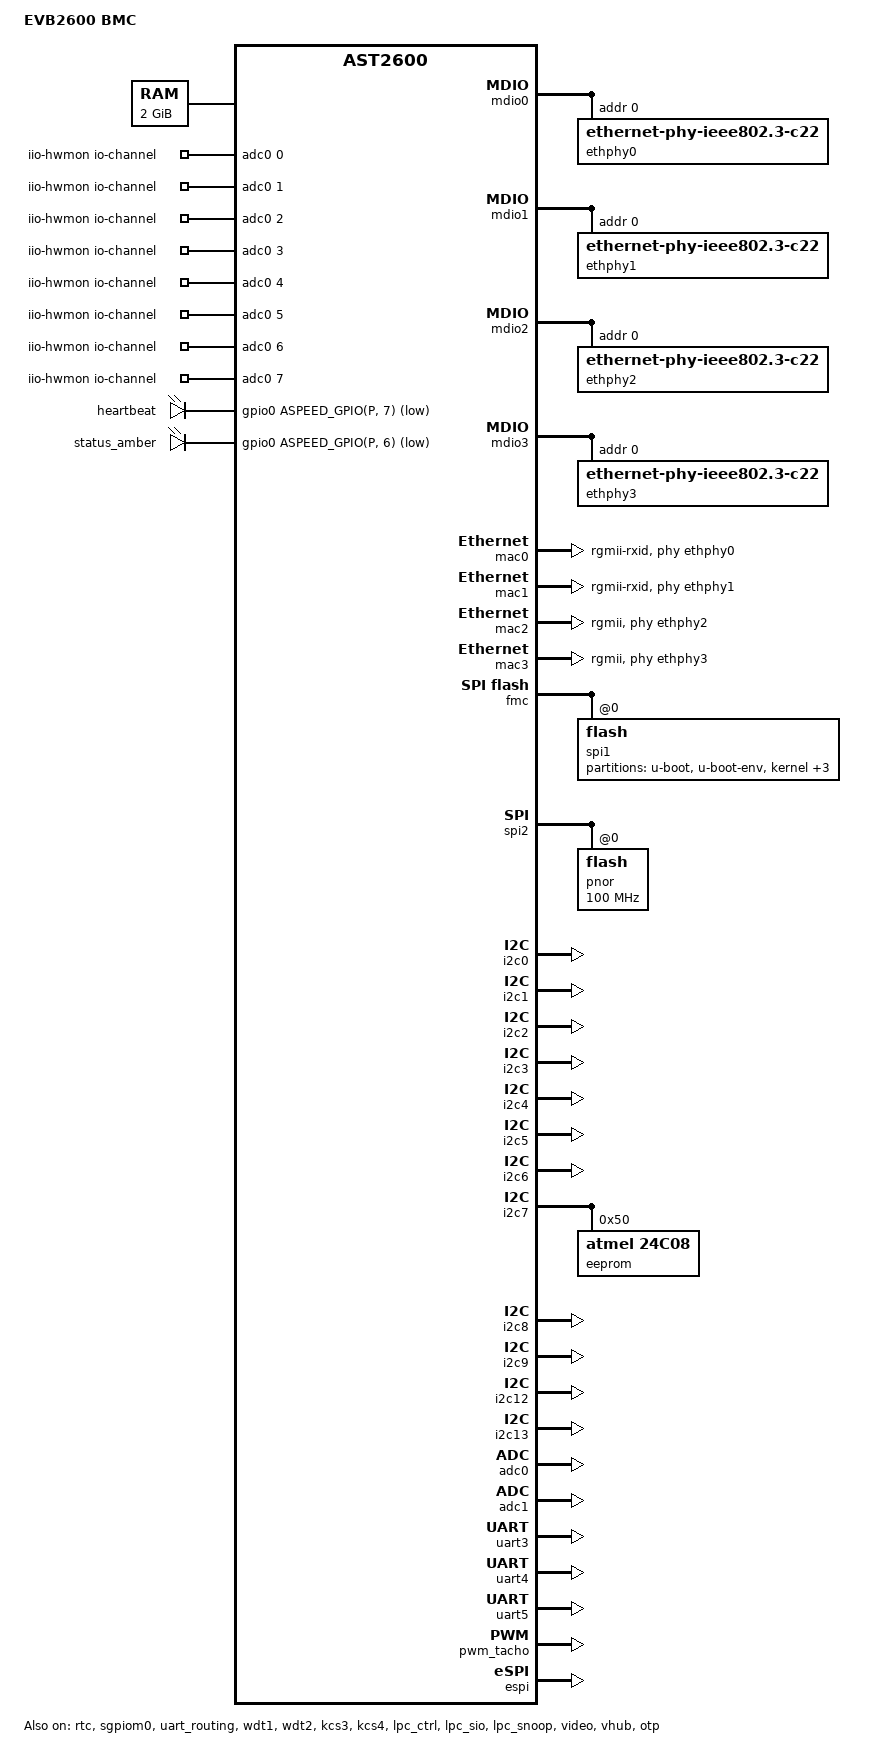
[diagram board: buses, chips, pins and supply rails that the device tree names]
// SPDX-License-Identifier: GPL-2.0+
// Copyright (c) 2021 Facebook Inc.
/dts-v1/;

#include "aspeed-g6.dtsi"
#include <dt-bindings/gpio/aspeed-gpio.h>
#include <dt-bindings/usb/pd.h>

/ {
	model = "EVB2600 BMC";
	compatible = "yandex,evb2600-bmc", "aspeed,ast2600";

	aliases {
		serial4 = &uart5;
	};

	chosen {
		bootargs = "console=ttyS4,115200n8 rw earlyrintk";
	};

	memory@80000000 {
		device_type = "memory";
		reg = <0x80000000 0x80000000>;
	};

	reserved-memory {
		#address-cells = <1>;
		#size-cells = <1>;
		ranges;

		gfx_memory: framebuffer {
			size = <0x01000000>;
			alignment = <0x01000000>;
			compatible = "shared-dma-pool";
			reusable;
		};

		video_engine_memory: video {
			size = <0x04000000>;
			alignment = <0x01000000>;
			compatible = "shared-dma-pool";
			reusable;
		};

		rvas_memory: rvas {
			size = <0x04000000>;
			alignment = <0x01000000>;
			compatible = "shared-dma-pool";
			reusable;
		};

		ssp_memory: ssp_memory {
			size = <0x02000000>;
			alignment = <0x01000000>;
			compatible = "shared-dma-pool";
			no-map;
		};

		bmc_dev_memory: bmc_dev_memory {
			size = <0x00100000>;
			alignment = <0x00100000>;
			compatible = "shared-dma-pool";
			no-map;
		};

		/* 1GB memory */
		vga_memory: region@bf000000 {
			no-map;
			compatible = "shared-dma-pool";
			reg = <0xbf000000 0x01000000>;  /* 16M */
		};

	};

	vga-shared-memory {
		compatible = "aspeed,ast2500-vga-sharedmem";
		reg = <0xbff00000 0x100000>;
	};

	iio-hwmon {
		compatible = "iio-hwmon";
		io-channels = <&adc0 0>, <&adc0 1>, <&adc0 2>, <&adc0 3>,
			<&adc0 4>, <&adc0 5>, <&adc0 6>, <&adc0 7>,
			<&adc1 0>, <&adc1 1>, <&adc1 2>, <&adc1 3>,
			<&adc1 4>, <&adc1 5>, <&adc1 6>, <&adc1 7>;
	};

	leds {
		compatible = "gpio-leds";
		heartbeat {
			label = "heartbeat";
			gpios = <&gpio0 ASPEED_GPIO(P, 7) GPIO_ACTIVE_LOW>;
			linux,default-trigger = "timer";
			active-delay = <100>;
			inactive-delay = <100>;
		};
		status_amber {
			label = "status_amber";
			gpios = <&gpio0 ASPEED_GPIO(P, 6) GPIO_ACTIVE_LOW>;
			default-state = "keep";
		};
	};
};

&mdio0 {
	status = "okay";

	ethphy0: ethernet-phy@0 {
		compatible = "ethernet-phy-ieee802.3-c22";
		reg = <0>;
	};
};

&mdio1 {
	status = "okay";

	ethphy1: ethernet-phy@0 {
		compatible = "ethernet-phy-ieee802.3-c22";
		reg = <0>;
	};
};

&mdio2 {
	status = "okay";

	ethphy2: ethernet-phy@0 {
		compatible = "ethernet-phy-ieee802.3-c22";
		reg = <0>;
	};
};

&mdio3 {
	status = "okay";

	ethphy3: ethernet-phy@0 {
		compatible = "ethernet-phy-ieee802.3-c22";
		reg = <0>;
	};
};

&mac0 {
	status = "okay";

	phy-mode = "rgmii-rxid";
	phy-handle = <&ethphy0>;

	pinctrl-names = "default";
	pinctrl-0 = <&pinctrl_rgmii1_default>;
};


&mac1 {
	status = "okay";

	phy-mode = "rgmii-rxid";
	phy-handle = <&ethphy1>;

	pinctrl-names = "default";
	pinctrl-0 = <&pinctrl_rgmii2_default>;
};

&mac2 {
	status = "okay";

	phy-mode = "rgmii";
	phy-handle = <&ethphy2>;

	pinctrl-names = "default";
	pinctrl-0 = <&pinctrl_rgmii3_default>;
};

&mac3 {
	status = "okay";

	phy-mode = "rgmii";
	phy-handle = <&ethphy3>;

	pinctrl-names = "default";
	pinctrl-0 = <&pinctrl_rgmii4_default>;
};

&syscon {
	mac0-clk-delay = <0x10 0x0a
			  0x10 0x10
			  0x10 0x10>;
	mac1-clk-delay = <0x10 0x0a
			  0x10 0x10
			  0x10 0x10>;
	mac2-clk-delay = <0x08 0x04
			  0x08 0x04
			  0x08 0x04>;
	mac3-clk-delay = <0x08 0x04
			  0x08 0x04
			  0x08 0x04>;
};

&rtc {
	status = "okay";
};

&fmc {
	status = "okay";
	flash@0 {
		status = "okay";
		m25p,fast-read;
		label = "spi1";
		partitions {
			compatible = "fixed-partitions";
			#address-cells = <1>;
			#size-cells = <1>;

			u-boot@0 {
				reg = <0x0 0xe0000>; // 896KB
				label = "u-boot";
			};

			u-boot-env@e0000 {
				reg = <0xe0000 0x20000>; // 128KB
				label = "u-boot-env";
			};

			kernel@100000 {
				reg = <0x100000 0x900000>; // 9MB
				label = "kernel";
			};

			rofs@a00000 {
				reg = <0xa00000 0x2000000>; // 32MB
				label = "rofs";
			};

			rwfs@6000000 {
				reg = <0x2a00000 0xfc0000>; // 16MB
				label = "rwfs";
			};

			persistent@39c0000 {
				reg = <0x39c0000 0x640000>; // 6.4MB
				label = "persistent";
			};
		};
	};
};

&spi2 {
	status = "okay";
	pinctrl-names = "default";
	pinctrl-0 = <&pinctrl_spi2_default>;

	flash@0 {
		status = "okay";
		m25p,fast-read;
		label = "pnor";
		spi-max-frequency = <100000000>;
	};
};

&i2c0 {
	status = "okay";
};

&i2c1 {
	status = "okay";
};

&i2c2 {
	status = "okay";
};

&i2c3 {
	status = "okay";
};

&i2c4 {
	status = "okay";
};

&i2c5 {
	status = "okay";
};

&i2c6 {
	status = "okay";
};

&i2c7 {
	status = "okay";

	eeprom@50 {
		compatible = "atmel,24c08";
		reg = <0x50>;
	};
};

&i2c8 {
	status = "okay";
};

&i2c9 {
	status = "okay";
};

&i2c10 {
	status = "disabled";
};

&i2c11 {
	status = "disabled";
};

&i2c12 {
	status = "okay";
};

&i2c13 {
	status = "okay";
};

&gpio0 {
	status = "okay";
	gpio-line-names =
	/* A0-A7 */ "A0","A1","A2","A3","A4","A5","A6","A7",
	/* B0-B7 */ "B0","B1","B2","B3","B4","B5","B6","B7",
	/* C0-C7 */ "C0","C1","C2","C3","C4","C5","C6","C7",
	/* D0-D7 */ "D0","D1","D2","D3","D4","D5","D6","D7",
	/* E0-E7 */ "E0","E1","E2","E3","E4","E5","E6","E7",
	/* F0-F7 */ "F0","F1","F2","F3","F4","F5","F6","F7",
	/* G0-G7 */ "G0","G1","G2","G3","G4","G5","G6","G7",
	/* H0-H7 */ "H0","H1","H2","H3","H4","H5","H6","H7",
	/* I0-I7 */ "I0","I1","I2","I3","I4","I5","I6","I7",
	/* J0-J7 */ "J0","J1","J2","J3","J4","J5","J6","J7",
	/* K0-K7 */ "K0","K1","K2","K3","K4","K5","K6","K7",
	/* L0-L7 */ "L0","L1","L2","L3","L4","L5","L6","L7",
	/* M0-M7 */ "M0","M1","M2","M3","M4","M5","M6","M7",
	/* N0-N7 */ "N0","N1","N2","N3","N4","N5","N6","N7",
	/* O0-O7 */ "O0","O1","O2","O3","O4","O5","O6","O7",
	/* P0-P7 */ "P0","P1","P2","P3","P4","P5","P6","P7",
	/* Q0-Q7 */ "Q0","Q1","Q2","Q3","Q4","Q5","Q6","Q7",
	/* R0-R7 */ "R0","R1","R2","R3","R4","R5","R6","R7",
	/* S0-S7 */ "S0","S1","S2","S3","S4","S5","S6","S7",
	/* T0-T7 */ "T0","T1","T2","T3","T4","T5","T6","T7",
	/* U0-U7 */ "U0","U1","U2","U3","U4","U5","U6","U7",
	/* V0-V7 */ "V0","V1","V2","V3","V4","V5","V6","V7",
	/* W0-W7 */ "W0","W1","W2","W3","W4","W5","W6","W7",
	/* X0-X7 */ "X0","X1","X2","X3","X4","X5","X6","X7",
	/* Y0-Y7 */ "Y0","Y1","Y2","Y3","Y4","Y5","Y6","Y7",
	/* Z0-Z7 */ "Z0","Z1","Z2","Z3","Z4","Z5","Z6","Z7";
};

&sgpiom0 {
	status = "okay";
	ngpios = <128>;
	gpio-line-names =
	/* A0-A7 */ "SGPIO_A0_IN","SGPIO_A0_OUT","SGPIO_A1_IN","SGPIO_A1_OUT","SGPIO_A2_IN","SGPIO_A2_OUT","SGPIO_A3_IN","SGPIO_A3_OUT",
				"SGPIO_A4_IN","SGPIO_A4_OUT","SGPIO_A5_IN","SGPIO_A5_OUT","SGPIO_A6_IN","SGPIO_A6_OUT","SGPIO_A7_IN","SGPIO_A7_OUT",
	/* B0-B7 */ "SGPIO_B0_IN","SGPIO_B0_OUT","SGPIO_B1_IN","SGPIO_B1_OUT","SGPIO_B2_IN","SGPIO_B2_OUT","SGPIO_B3_IN","SGPIO_B3_OUT",
				"SGPIO_B4_IN","SGPIO_B4_OUT","SGPIO_B5_IN","SGPIO_B5_OUT","SGPIO_B6_IN","SGPIO_B6_OUT","SGPIO_B7_IN","SGPIO_B7_OUT",
	/* C0-C7 */ "SGPIO_C0_IN","SGPIO_C0_OUT","SGPIO_C1_IN","SGPIO_C1_OUT","SGPIO_C2_IN","SGPIO_C2_OUT","SGPIO_C3_IN","SGPIO_C3_OUT",
				"SGPIO_C4_IN","SGPIO_C4_OUT","SGPIO_C5_IN","SGPIO_C5_OUT","SGPIO_C6_IN","SGPIO_C6_OUT","SGPIO_C7_IN","SGPIO_C7_OUT",
	/* D0-D7 */ "SGPIO_D0_IN","SGPIO_D0_OUT","SGPIO_D1_IN","SGPIO_D1_OUT","SGPIO_D2_IN","SGPIO_D2_OUT","SGPIO_D3_IN","SGPIO_D3_OUT",
				"SGPIO_D4_IN","SGPIO_D4_OUT","SGPIO_D5_IN","SGPIO_D5_OUT","SGPIO_D6_IN","SGPIO_D6_OUT","SGPIO_D7_IN","SGPIO_D7_OUT",
	/* E0-E7 */ "SGPIO_E0_IN","SGPIO_E0_OUT","SGPIO_E1_IN","SGPIO_E1_OUT","SGPIO_E2_IN","SGPIO_E2_OUT","SGPIO_E3_IN","SGPIO_E3_OUT",
				"SGPIO_E4_IN","SGPIO_E4_OUT","SGPIO_E5_IN","SGPIO_E5_OUT","SGPIO_E6_IN","SGPIO_E6_OUT","SGPIO_E7_IN","SGPIO_E7_OUT",
	/* F0-F7 */ "SGPIO_F0_IN","SGPIO_F0_OUT","SGPIO_F1_IN","SGPIO_F1_OUT","SGPIO_F2_IN","SGPIO_F2_OUT","SGPIO_F3_IN","SGPIO_F3_OUT",
				"SGPIO_F4_IN","SGPIO_F4_OUT","SGPIO_F5_IN","SGPIO_F5_OUT","SGPIO_F6_IN","SGPIO_F6_OUT","SGPIO_F7_IN","SGPIO_F7_OUT",
	/* G0-G7 */ "SGPIO_G0_IN","SGPIO_G0_OUT","SGPIO_G1_IN","SGPIO_G1_OUT","SGPIO_G2_IN","SGPIO_G2_OUT","SGPIO_G3_IN","SGPIO_G3_OUT",
				"SGPIO_G4_IN","SGPIO_G4_OUT","SGPIO_G5_IN","SGPIO_G5_OUT","SGPIO_G6_IN","SGPIO_G6_OUT","SGPIO_G7_IN","SGPIO_G7_OUT",
	/* H0-H7 */ "SGPIO_H0_IN","SGPIO_H0_OUT","SGPIO_H1_IN","SGPIO_H1_OUT","SGPIO_H2_IN","SGPIO_H2_OUT","SGPIO_H3_IN","SGPIO_H3_OUT",
				"SGPIO_H4_IN","SGPIO_H4_OUT","SGPIO_H5_IN","SGPIO_H5_OUT","SGPIO_H6_IN","SGPIO_H6_OUT","SGPIO_H7_IN","SGPIO_H7_OUT",
	/* I0-I7 */ "SGPIO_I0_IN","SGPIO_I0_OUT","SGPIO_I1_IN","SGPIO_I1_OUT","SGPIO_I2_IN","SGPIO_I2_OUT","SGPIO_I3_IN","SGPIO_I3_OUT",
				"SGPIO_I4_IN","SGPIO_I4_OUT","SGPIO_I5_IN","SGPIO_I5_OUT","SGPIO_I6_IN","SGPIO_I6_OUT","SGPIO_I7_IN","SGPIO_I7_OUT",
	/* J0-J7 */ "SGPIO_J0_IN","SGPIO_J0_OUT","SGPIO_J1_IN","SGPIO_J1_OUT","SGPIO_J2_IN","SGPIO_J2_OUT","SGPIO_J3_IN","SGPIO_J3_OUT",
				"SGPIO_J4_IN","SGPIO_J4_OUT","SGPIO_J5_IN","SGPIO_J5_OUT","SGPIO_J6_IN","SGPIO_J6_OUT","SGPIO_J7_IN","SGPIO_J7_OUT",
	/* K0-K7 */ "SGPIO_K0_IN","SGPIO_K0_OUT","SGPIO_K1_IN","SGPIO_K1_OUT","SGPIO_K2_IN","SGPIO_K2_OUT","SGPIO_K3_IN","SGPIO_K3_OUT",
				"SGPIO_K4_IN","SGPIO_K4_OUT","SGPIO_K5_IN","SGPIO_K5_OUT","SGPIO_K6_IN","SGPIO_K6_OUT","SGPIO_K7_IN","SGPIO_K7_OUT",
	/* L0-L7 */ "SGPIO_L0_IN","SGPIO_L0_OUT","SGPIO_L1_IN","SGPIO_L1_OUT","SGPIO_L2_IN","SGPIO_L2_OUT","SGPIO_L3_IN","SGPIO_L3_OUT",
				"SGPIO_L4_IN","SGPIO_L4_OUT","SGPIO_L5_IN","SGPIO_L5_OUT","SGPIO_L6_IN","SGPIO_L6_OUT","SGPIO_L7_IN","SGPIO_L7_OUT",
	/* M0-M7 */ "SGPIO_M0_IN","SGPIO_M0_OUT","SGPIO_M1_IN","SGPIO_M1_OUT","SGPIO_M2_IN","SGPIO_M2_OUT","SGPIO_M3_IN","SGPIO_M3_OUT",
				"SGPIO_M4_IN","SGPIO_M4_OUT","SGPIO_M5_IN","SGPIO_M5_OUT","SGPIO_M6_IN","SGPIO_M6_OUT","SGPIO_M7_IN","SGPIO_M7_OUT",
	/* N0-N7 */ "SGPIO_N0_IN","SGPIO_N0_OUT","SGPIO_N1_IN","SGPIO_N1_OUT","SGPIO_N2_IN","SGPIO_N2_OUT","SGPIO_N3_IN","SGPIO_N3_OUT",
				"SGPIO_N4_IN","SGPIO_N4_OUT","SGPIO_N5_IN","SGPIO_N5_OUT","SGPIO_N6_IN","SGPIO_N6_OUT","SGPIO_N7_IN","SGPIO_N7_OUT",
	/* O0-O7 */ "SGPIO_O0_IN","SGPIO_O0_OUT","SGPIO_O1_IN","SGPIO_O1_OUT","SGPIO_O2_IN","SGPIO_O2_OUT","SGPIO_O3_IN","SGPIO_O3_OUT",
				"SGPIO_O4_IN","SGPIO_O4_OUT","SGPIO_O5_IN","SGPIO_O5_OUT","SGPIO_O6_IN","SGPIO_O6_OUT","SGPIO_O7_IN","SGPIO_O7_OUT",
	/* P0-P7 */ "SGPIO_P0_IN","SGPIO_P0_OUT","SGPIO_P1_IN","SGPIO_P1_OUT","SGPIO_P2_IN","SGPIO_P2_OUT","SGPIO_P3_IN","SGPIO_P3_OUT",
				"SGPIO_P4_IN","SGPIO_P4_OUT","SGPIO_P5_IN","SGPIO_P5_OUT","SGPIO_P6_IN","SGPIO_P6_OUT","SGPIO_P7_IN","SGPIO_P7_OUT";
};

&adc0 {
	vref = <1800>;
	status = "okay";

	pinctrl-names = "default";
	pinctrl-0 = <&pinctrl_adc0_default &pinctrl_adc1_default
		&pinctrl_adc2_default &pinctrl_adc3_default
		&pinctrl_adc4_default &pinctrl_adc5_default
		&pinctrl_adc6_default &pinctrl_adc7_default>;
};

&adc1 {
	vref = <2500>;
	status = "okay";

	pinctrl-names = "default";
	pinctrl-0 = <&pinctrl_adc8_default &pinctrl_adc9_default
		&pinctrl_adc10_default &pinctrl_adc11_default
		&pinctrl_adc12_default &pinctrl_adc13_default
		&pinctrl_adc14_default &pinctrl_adc15_default>;
};

/* ttyS0 0x1e783000  Passed to host via SIO -> LPC */
&uart1 {
	status = "disabled";
};

/* ttyS1 0x1e78d000 Passed to host via SIO -> LPC */
&uart2{
	status = "disabled";
};

/* ttyS2 0x1e78e000 */
&uart3{
	status = "okay";
};

/* ttyS3 0x1e78f000 This UART is used to be internally connected to UART1 for SOL function */
&uart4{
	status = "okay";
	pinctrl-names = "default";
	pinctrl-0 = <>;
};

&uart_routing {
	status = "okay";
};

/* Console UART */
&uart5 {
	status = "okay";
	pinctrl-names = "default";
	pinctrl-0 = <>;
};

&vuart1 {
	status = "disabled";
};

&vuart2 {
	status = "disabled";
};

&wdt1 {
	status = "okay";
	aspeed,reset-type = "soc";
};

&wdt2 {
	status = "okay";
	aspeed,reset-type = "soc";
};

&wdt3 {
	status = "disabled";
};

&kcs3 {
	kcs_addr = <0xCA2>;
	aspeed,lpc-io-reg = <0xca2>;
	status = "okay";
};

&kcs4 {
	kcs_addr = <0xCA4>;
	aspeed,lpc-io-reg = <0xca4>;
	status = "okay";
};

&lpc_ctrl {
	// Enable lpc clock
	status = "okay";
};

&lpc_sio {
	status = "okay";
};

&lpc_snoop {
	snoop-ports = <0x80>;
	status = "okay";
};

&mbox {
	status = "okay";
};

&pwm_tacho {
	status = "okay";
	#pwm-cells = <3>;
	aspeed,pwm-outputs = <7>;
	pinctrl-names = "default";
	pinctrl-0 = <&pinctrl_pwm0_default &pinctrl_tach0_default
			&pinctrl_pwm1_default &pinctrl_tach1_default
			&pinctrl_pwm2_default &pinctrl_tach2_default
			&pinctrl_pwm3_default &pinctrl_tach3_default
			&pinctrl_pwm4_default &pinctrl_tach4_default
			&pinctrl_pwm5_default &pinctrl_tach5_default
			&pinctrl_pwm6_default &pinctrl_tach6_default
			&pinctrl_pwm7_default &pinctrl_tach7_default>;

	fan@0 {
		reg = <0x00>;
		aspeed,fan-tach-ch = /bits/ 8 <0x00>;
	};
	fan@1 {
		reg = <0x01>;
		aspeed,fan-tach-ch = /bits/ 8 <0x01>;
	};
	fan@2 {
		reg = <0x02>;
		aspeed,fan-tach-ch = /bits/ 8 <0x02>;
	};
	fan@3 {
		reg = <0x03>;
		aspeed,fan-tach-ch = /bits/ 8 <0x03>;
	};
	fan@4 {
		reg = <0x04>;
		aspeed,fan-tach-ch = /bits/ 8 <0x04>;
	};
	fan@5 {
		reg = <0x05>;
		aspeed,fan-tach-ch = /bits/ 8 <0x05>;
	};
	fan@6 {
		reg = <0x0c>;
		aspeed,fan-tach-ch = /bits/ 8 <0x06>;
	};
	fan@7 {
		reg = <0x0d>;
		aspeed,fan-tach-ch = /bits/ 8 <0x07>;
	};
};

&video {
	status = "okay";
	memory-region = <&video_engine_memory>;
};

&vhub {
	status = "okay";
//  Disable PCIe EHCI port as it doesn't work
//	pinctrl-names = "default";
//	pinctrl-0 = <&pinctrl_usb2adp_default>;
};

&ehci0 {
	status = "disabled";
};

&ehci1 {
	status = "disabled";
};

&otp {
	status = "okay";
};

&espi {
	status = "okay";
};
